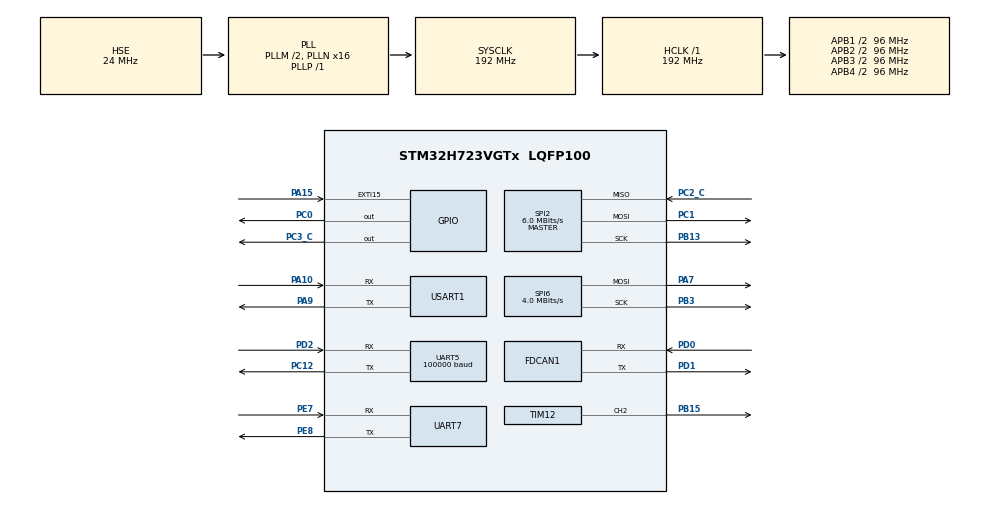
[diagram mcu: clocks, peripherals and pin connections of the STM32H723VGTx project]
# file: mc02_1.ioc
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CORTEX_M7.default_mode_Activation=1
Dma.Request0=USART1_TX
Dma.Request1=USART1_RX
Dma.Request2=UART7_RX
Dma.Request3=UART7_TX
Dma.Request4=UART5_RX
Dma.Request5=UART5_TX
Dma.UART5_RX.4.Direction=DMA_PERIPH_TO_MEMORY
Dma.UART5_RX.4.EventEnable=DISABLE
Dma.UART5_RX.4.FIFOMode=DMA_FIFOMODE_DISABLE
Dma.UART5_RX.4.Instance=DMA1_Stream4
Dma.UART5_RX.4.MemDataAlignment=DMA_MDATAALIGN_BYTE
Dma.UART5_RX.4.MemInc=DMA_MINC_ENABLE
Dma.UART5_RX.4.Mode=DMA_NORMAL
Dma.UART5_RX.4.PeriphDataAlignment=DMA_PDATAALIGN_BYTE
Dma.UART5_RX.4.PeriphInc=DMA_PINC_DISABLE
Dma.UART5_RX.4.Polarity=HAL_DMAMUX_REQ_GEN_RISING
Dma.UART5_RX.4.Priority=DMA_PRIORITY_LOW
Dma.UART5_RX.4.RequestNumber=1
Dma.UART5_RX.4.SignalID=NONE
Dma.UART5_RX.4.SyncEnable=DISABLE
Dma.UART5_RX.4.SyncPolarity=HAL_DMAMUX_SYNC_NO_EVENT
Dma.UART5_RX.4.SyncRequestNumber=1
Dma.UART5_RX.4.SyncSignalID=NONE
Dma.UART5_TX.5.Direction=DMA_MEMORY_TO_PERIPH
Dma.UART5_TX.5.EventEnable=DISABLE
Dma.UART5_TX.5.FIFOMode=DMA_FIFOMODE_DISABLE
Dma.UART5_TX.5.Instance=DMA1_Stream5
Dma.UART5_TX.5.MemDataAlignment=DMA_MDATAALIGN_BYTE
Dma.UART5_TX.5.MemInc=DMA_MINC_ENABLE
Dma.UART5_TX.5.Mode=DMA_NORMAL
Dma.UART5_TX.5.PeriphDataAlignment=DMA_PDATAALIGN_BYTE
Dma.UART5_TX.5.PeriphInc=DMA_PINC_DISABLE
Dma.UART5_TX.5.Polarity=HAL_DMAMUX_REQ_GEN_RISING
Dma.UART5_TX.5.Priority=DMA_PRIORITY_LOW
Dma.UART5_TX.5.RequestNumber=1
Dma.UART5_TX.5.SignalID=NONE
Dma.UART5_TX.5.SyncEnable=DISABLE
Dma.UART5_TX.5.SyncPolarity=HAL_DMAMUX_SYNC_NO_EVENT
Dma.UART5_TX.5.SyncRequestNumber=1
Dma.UART5_TX.5.SyncSignalID=NONE
Dma.UART7_RX.2.Direction=DMA_PERIPH_TO_MEMORY
Dma.UART7_RX.2.EventEnable=DISABLE
Dma.UART7_RX.2.FIFOMode=DMA_FIFOMODE_DISABLE
Dma.UART7_RX.2.Instance=DMA1_Stream2
Dma.UART7_RX.2.MemDataAlignment=DMA_MDATAALIGN_BYTE
Dma.UART7_RX.2.MemInc=DMA_MINC_ENABLE
Dma.UART7_RX.2.Mode=DMA_CIRCULAR
Dma.UART7_RX.2.PeriphDataAlignment=DMA_PDATAALIGN_BYTE
Dma.UART7_RX.2.PeriphInc=DMA_PINC_DISABLE
Dma.UART7_RX.2.Polarity=HAL_DMAMUX_REQ_GEN_RISING
Dma.UART7_RX.2.Priority=DMA_PRIORITY_LOW
Dma.UART7_RX.2.RequestNumber=1
Dma.UART7_RX.2.SignalID=NONE
Dma.UART7_RX.2.SyncEnable=DISABLE
Dma.UART7_RX.2.SyncPolarity=HAL_DMAMUX_SYNC_NO_EVENT
Dma.UART7_RX.2.SyncRequestNumber=1
Dma.UART7_RX.2.SyncSignalID=NONE
Dma.UART7_TX.3.Direction=DMA_MEMORY_TO_PERIPH
Dma.UART7_TX.3.EventEnable=DISABLE
Dma.UART7_TX.3.FIFOMode=DMA_FIFOMODE_DISABLE
Dma.UART7_TX.3.Instance=DMA1_Stream3
Dma.UART7_TX.3.MemDataAlignment=DMA_MDATAALIGN_BYTE
Dma.UART7_TX.3.MemInc=DMA_MINC_ENABLE
Dma.UART7_TX.3.Mode=DMA_NORMAL
Dma.UART7_TX.3.PeriphDataAlignment=DMA_PDATAALIGN_BYTE
Dma.UART7_TX.3.PeriphInc=DMA_PINC_DISABLE
Dma.UART7_TX.3.Polarity=HAL_DMAMUX_REQ_GEN_RISING
Dma.UART7_TX.3.Priority=DMA_PRIORITY_LOW
Dma.UART7_TX.3.RequestNumber=1
Dma.UART7_TX.3.SignalID=NONE
Dma.UART7_TX.3.SyncEnable=DISABLE
Dma.UART7_TX.3.SyncPolarity=HAL_DMAMUX_SYNC_NO_EVENT
Dma.UART7_TX.3.SyncRequestNumber=1
Dma.UART7_TX.3.SyncSignalID=NONE
Dma.USART1_RX.1.Direction=DMA_PERIPH_TO_MEMORY
Dma.USART1_RX.1.EventEnable=DISABLE
Dma.USART1_RX.1.FIFOMode=DMA_FIFOMODE_DISABLE
Dma.USART1_RX.1.Instance=DMA1_Stream1
Dma.USART1_RX.1.MemDataAlignment=DMA_MDATAALIGN_BYTE
Dma.USART1_RX.1.MemInc=DMA_MINC_ENABLE
Dma.USART1_RX.1.Mode=DMA_NORMAL
Dma.USART1_RX.1.PeriphDataAlignment=DMA_PDATAALIGN_BYTE
Dma.USART1_RX.1.PeriphInc=DMA_PINC_DISABLE
Dma.USART1_RX.1.Polarity=HAL_DMAMUX_REQ_GEN_RISING
Dma.USART1_RX.1.Priority=DMA_PRIORITY_LOW
Dma.USART1_RX.1.RequestNumber=1
Dma.USART1_RX.1.SignalID=NONE
Dma.USART1_RX.1.SyncEnable=DISABLE
Dma.USART1_RX.1.SyncPolarity=HAL_DMAMUX_SYNC_NO_EVENT
Dma.USART1_RX.1.SyncRequestNumber=1
Dma.USART1_RX.1.SyncSignalID=NONE
Dma.USART1_TX.0.Direction=DMA_MEMORY_TO_PERIPH
Dma.USART1_TX.0.EventEnable=DISABLE
Dma.USART1_TX.0.FIFOMode=DMA_FIFOMODE_DISABLE
Dma.USART1_TX.0.Instance=DMA1_Stream0
Dma.USART1_TX.0.MemDataAlignment=DMA_MDATAALIGN_BYTE
Dma.USART1_TX.0.MemInc=DMA_MINC_ENABLE
Dma.USART1_TX.0.Mode=DMA_NORMAL
Dma.USART1_TX.0.PeriphDataAlignment=DMA_PDATAALIGN_BYTE
Dma.USART1_TX.0.PeriphInc=DMA_PINC_DISABLE
Dma.USART1_TX.0.Polarity=HAL_DMAMUX_REQ_GEN_RISING
Dma.USART1_TX.0.Priority=DMA_PRIORITY_LOW
Dma.USART1_TX.0.RequestNumber=1
Dma.USART1_TX.0.SignalID=NONE
Dma.USART1_TX.0.SyncEnable=DISABLE
Dma.USART1_TX.0.SyncPolarity=HAL_DMAMUX_SYNC_NO_EVENT
Dma.USART1_TX.0.SyncRequestNumber=1
Dma.USART1_TX.0.SyncSignalID=NONE
FDCAN1.CalculateBaudRateNominal=1000000
FDCAN1.CalculateTimeBitNominal=1000
FDCAN1.CalculateTimeQuantumNominal=62.5
FDCAN1.DataTimeSeg1=13
FDCAN1.DataTimeSeg2=2
FDCAN1.ExtFiltersNbr=8
FDCAN1.Mode=FDCAN_MODE_NORMAL
FDCAN1.NominalPrescaler=6
FDCAN1.NominalTimeSeg1=13
FDCAN1.NominalTimeSeg2=2
FDCAN1.RxBuffersNbr=8
FDCAN1.RxFifo0ElmtsNbr=8
FDCAN1.RxFifo1ElmtsNbr=8
FDCAN1.StdFiltersNbr=8
FDCAN1.TxBuffersNbr=8
FDCAN1.TxEventsNbr=8
FDCAN1.TxFifoQueueElmtsNbr=8
FREERTOS.Tasks01=defaultTask,24,128,StartDefaultTask,Default,NULL,Dynamic,NULL,NULL;myTask02,8,128,motorTask,Default,NULL,Dynamic,NULL,NULL;myTask03,8,526,UartTask,Default,NULL,Dynamic,NULL,NULL;myTask04,8,512,watchDog,Default,NULL,Dynamic,NULL,NULL;myTask05,8,128,attitideTask,Default,NULL,Dynamic,NULL,NULL
Mcu.Family=STM32H7
Mcu.Name=STM32H723VGTx
Mcu.Package=LQFP100
NVIC.DMA1_Stream0_IRQn=true\:5\:0\:false\:false\:true\:true\:false\:true\:true
NVIC.DMA1_Stream1_IRQn=true\:5\:0\:false\:false\:true\:true\:false\:true\:true
NVIC.DMA1_Stream2_IRQn=true\:5\:0\:false\:false\:true\:true\:false\:true\:true
NVIC.DMA1_Stream3_IRQn=true\:5\:0\:false\:false\:true\:true\:false\:true\:true
NVIC.DMA1_Stream4_IRQn=true\:5\:0\:false\:false\:true\:true\:false\:true\:true
NVIC.DMA1_Stream5_IRQn=true\:5\:0\:false\:false\:true\:true\:false\:true\:true
NVIC.EXTI15_10_IRQn=true\:5\:0\:false\:false\:true\:true\:true\:true\:true
NVIC.FDCAN1_IT0_IRQn=true\:5\:0\:false\:false\:true\:true\:true\:true\:true
NVIC.PriorityGroup=NVIC_PRIORITYGROUP_4
NVIC.TIM4_IRQn=true\:15\:0\:false\:false\:true\:false\:false\:true\:true
NVIC.TimeBase=TIM4_IRQn
NVIC.TimeBaseIP=TIM4
NVIC.UART5_IRQn=true\:5\:0\:false\:false\:true\:true\:true\:true\:true
NVIC.UART7_IRQn=true\:5\:0\:false\:false\:true\:true\:true\:true\:true
NVIC.USART1_IRQn=true\:5\:0\:false\:false\:true\:true\:true\:true\:true
PA10.Mode=Asynchronous
PA10.Signal=USART1_RX
PA13(JTMS/SWDIO).Mode=Serial_Wire
PA13(JTMS/SWDIO).Signal=DEBUG_JTMS-SWDIO
PA14(JTCK/SWCLK).Mode=Serial_Wire
PA14(JTCK/SWCLK).Signal=DEBUG_JTCK-SWCLK
PA15(JTDI).GPIO_ModeDefaultEXTI=GPIO_MODE_IT_FALLING
PA15(JTDI).GPIO_PuPd=GPIO_PULLUP
PA15(JTDI).Signal=GPXTI15
PA7.Mode=TX_Only_Simplex_Unidirect_Master
PA7.Signal=SPI6_MOSI
PA9.Mode=Asynchronous
PA9.Signal=USART1_TX
PB13.Mode=Full_Duplex_Master
PB13.Signal=SPI2_SCK
PB15.Signal=S_TIM12_CH2
PB3(JTDO/TRACESWO).Mode=TX_Only_Simplex_Unidirect_Master
PB3(JTDO/TRACESWO).Signal=SPI6_SCK
PC0.PinState=GPIO_PIN_SET
PC0.Signal=GPIO_Output
PC1.Mode=Full_Duplex_Master
PC1.Signal=SPI2_MOSI
PC12.Mode=Asynchronous
PC12.Signal=UART5_TX
PC2_C.Mode=Full_Duplex_Master
PC2_C.Signal=SPI2_MISO
PC3_C.PinState=GPIO_PIN_SET
PC3_C.Signal=GPIO_Output
PD0.Mode=FDCAN_Activate
PD0.Signal=FDCAN1_RX
PD1.Mode=FDCAN_Activate
PD1.Signal=FDCAN1_TX
PD2.GPIO_PuPd=GPIO_PULLUP
PD2.Mode=Asynchronous
PD2.Signal=UART5_RX
PE7.Mode=Asynchronous
PE7.Signal=UART7_RX
PE8.Mode=Asynchronous
PE8.Signal=UART7_TX
PH0-OSC_IN.Mode=HSE-External-Oscillator
PH0-OSC_IN.Signal=RCC_OSC_IN
PH1-OSC_OUT.Mode=HSE-External-Oscillator
PH1-OSC_OUT.Signal=RCC_OSC_OUT
ProjectManager.HeapSize=0x800
ProjectManager.StackSize=0x1000
ProjectManager.TargetToolchain=CMake
RCC.ADCFreq_Value=48375000
RCC.APB1Freq_Value=96000000
RCC.APB2Freq_Value=96000000
RCC.APB3Freq_Value=96000000
RCC.APB4Freq_Value=96000000
RCC.CortexFreq_Value=192000000
RCC.D1PPRE=RCC_APB3_DIV2
RCC.D2PPRE1=RCC_APB1_DIV2
RCC.D2PPRE2=RCC_APB2_DIV2
RCC.D3PPRE=RCC_APB4_DIV2
RCC.DIVM1=2
RCC.DIVN1=16
RCC.DIVP1=1
RCC.HCLKFreq_Value=192000000
RCC.HSE_VALUE=24000000
RCC.PLL2FRACN=0
RCC.PLL3FRACN=0
RCC.PLLFRACN=0
RCC.PLLSourceVirtual=RCC_PLLSOURCE_HSE
RCC.SPI6CLockSelection=RCC_SPI6CLKSOURCE_HSI
RCC.SYSCLKFreq_VALUE=192000000
RCC.SYSCLKSource=RCC_SYSCLKSOURCE_PLLCLK
RCC.USBFreq_Value=96000000
SH.S_TIM12_CH2.0=TIM12_CH2,PWM Generation2 CH2
SPI2.BaudRatePrescaler=SPI_BAUDRATEPRESCALER_16
SPI2.CLKPhase=SPI_PHASE_2EDGE
SPI2.CLKPolarity=SPI_POLARITY_HIGH
SPI2.CalculateBaudRate=6.0 MBits/s
SPI2.DataSize=SPI_DATASIZE_8BIT
SPI2.Direction=SPI_DIRECTION_2LINES
SPI2.Mode=SPI_MODE_MASTER
SPI2.VirtualType=VM_MASTER
SPI6.BaudRatePrescaler=SPI_BAUDRATEPRESCALER_16
SPI6.CLKPhase=SPI_PHASE_2EDGE
SPI6.CalculateBaudRate=4.0 MBits/s
SPI6.DataSize=SPI_DATASIZE_8BIT
SPI6.Direction=SPI_DIRECTION_2LINES_TXONLY
SPI6.Mode=SPI_MODE_MASTER
SPI6.VirtualType=VM_MASTER
TIM12.AutoReloadPreload=TIM_AUTORELOAD_PRELOAD_ENABLE
TIM12.Channel-PWM\ Generation2\ CH2=TIM_CHANNEL_2
TIM12.Prescaler=71
UART5.BaudRate=100000
UART5.Parity=PARITY_EVEN
UART5.WordLength=WORDLENGTH_9B
USART1.VirtualMode-Asynchronous=VM_ASYNC
VP_FREERTOS_VS_CMSIS_V2.Mode=CMSIS_V2
VP_MEMORYMAP_VS_MEMORYMAP.Mode=CurAppReg
VP_SYS_VS_tim4.Mode=TIM4
VP_TIM12_VS_ClockSourceINT.Mode=Internal
board=custom

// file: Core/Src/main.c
/* USER CODE BEGIN Header */
/**
  ******************************************************************************
  * @file           : main.c
  * @brief          : Main program body
  ******************************************************************************
  * @attention
  *
  * Copyright (c) 2026 STMicroelectronics.
  * All rights reserved.
  *
  * This software is licensed under terms that can be found in the LICENSE file
  * in the root directory of this software component.
  * If no LICENSE file comes with this software, it is provided AS-IS.
  *
  ******************************************************************************
  */
/* USER CODE END Header */
#include "main.h"
#include "FreeRTOS.h"
#include "cmsis_os2.h"
#include "dma.h"
#include "fdcan.h"
#include "spi.h"
#include "tim.h"
#include "usart.h"
#include "gpio.h"

/* USER CODE BEGIN Includes */
//#include "queue.h"
#include"string.h"
#include"../../User/Inc/bsp_buzzer.h"
#include"../../User/Inc/bsp_ws2812.h"
#include"../../User/Inc/bsp_led.h"
#include"../../User/Inc/bsp_uart.h"
#include"../../User/Inc/bsp_can.h"
#include"../../User/Inc/bsp_imu.h"
#include"../../User/Inc/bsp_contrl.h"

#include"../../User/Inc/bsp_attitude.h"
//#include"FreeRTOSConfig.h"
#include"stdio.h"
/* USER CODE END Includes */

/* USER CODE BEGIN PV */
extern volatile uint8_t press_time = 0;
volatile uint8_t last_press_time = 0;
 volatile uint8_t flag = 0;
//extern osMessageQueueId_t uartQueueHandle;
//char buf[128];
extern char re_buf[128];
/* USER CODE END PV */

void SystemClock_Config(void);
static void MPU_Config(void);
void MX_FREERTOS_Init(void);

int main(void)
{

  /* MPU Configuration--------------------------------------------------------*/
  MPU_Config();

  /* MCU Configuration--------------------------------------------------------*/

  /* Reset of all peripherals, Initializes the Flash interface and the Systick. */
  HAL_Init();

  /* USER CODE BEGIN Init */
  buzzer_init();
  /* USER CODE END Init */

  /* Configure the system clock */
  SystemClock_Config();

  /* Initialize all configured peripherals */
  MX_GPIO_Init();
  MX_DMA_Init();
  MX_SPI6_Init();
  MX_TIM12_Init();
  MX_USART1_UART_Init();
  MX_UART7_Init();
  MX_FDCAN1_Init();
  MX_SPI2_Init();
  MX_UART5_Init();
  /* USER CODE BEGIN 2 */
  buzzer_init();
  bsp_led_init();
   uart_init(&huart7);
   bsp_can_init();
   IMU_Init();
  contrl_init();
  Attitude_Init();
  /* 打印一次芯片 ID，确认 SPI 通路是否正常：正常应为 ACC=0x1E, GYRO=0x0F */
  //uart_start("ACC ID: 0x%02X, GYRO ID: 0x%02X\r\n", IMU_ReadReg(1, 0x00), IMU_ReadReg(0, 0x00));

  /* USER CODE END 2 */

  /* Init scheduler */
  osKernelInitialize();  /* Call init function for freertos objects (in cmsis_os2.c) */
  MX_FREERTOS_Init();

  /* Start scheduler */
  osKernelStart();

  /* We should never get here as control is now taken by the scheduler */

  /* Infinite loop */
  /* USER CODE BEGIN WHILE */

  //用按键模拟工作状态，按一下表示未工作，按两下表示正常，按三下表示遇到突发情况
  static uint8_t last_press = 10;
  uint8_t txcan_buf[8] = {1,2,3,4,5,6,7,8};
  IMU_Data_t imu;
  while (1) {

    /* USER CODE END WHILE */

  }
}

void SystemClock_Config(void)
{
  RCC_OscInitTypeDef RCC_OscInitStruct = {0};
  RCC_ClkInitTypeDef RCC_ClkInitStruct = {0};

  /** Supply configuration update enable
  */
  HAL_PWREx_ConfigSupply(PWR_LDO_SUPPLY);

  /** Configure the main internal regulator output voltage
  */
  __HAL_PWR_VOLTAGESCALING_CONFIG(PWR_REGULATOR_VOLTAGE_SCALE1);

  while(!__HAL_PWR_GET_FLAG(PWR_FLAG_VOSRDY)) {}

  /** Initializes the RCC Oscillators according to the specified parameters
  * in the RCC_OscInitTypeDef structure.
  */
  RCC_OscInitStruct.OscillatorType = RCC_OSCILLATORTYPE_HSI|RCC_OSCILLATORTYPE_HSE;
  RCC_OscInitStruct.HSEState = RCC_HSE_ON;
  RCC_OscInitStruct.HSIState = RCC_HSI_DIV1;
  RCC_OscInitStruct.HSICalibrationValue = 64;
  RCC_OscInitStruct.PLL.PLLState = RCC_PLL_ON;
  RCC_OscInitStruct.PLL.PLLSource = RCC_PLLSOURCE_HSE;
  RCC_OscInitStruct.PLL.PLLM = 2;
  RCC_OscInitStruct.PLL.PLLN = 16;
  RCC_OscInitStruct.PLL.PLLP = 1;
  RCC_OscInitStruct.PLL.PLLQ = 2;
  RCC_OscInitStruct.PLL.PLLR = 2;
  RCC_OscInitStruct.PLL.PLLRGE = RCC_PLL1VCIRANGE_3;
  RCC_OscInitStruct.PLL.PLLVCOSEL = RCC_PLL1VCOWIDE;
  RCC_OscInitStruct.PLL.PLLFRACN = 0;
  if (HAL_RCC_OscConfig(&RCC_OscInitStruct) != HAL_OK)
  {
    Error_Handler();
  }

  /** Initializes the CPU, AHB and APB buses clocks
  */
  RCC_ClkInitStruct.ClockType = RCC_CLOCKTYPE_HCLK|RCC_CLOCKTYPE_SYSCLK
                              |RCC_CLOCKTYPE_PCLK1|RCC_CLOCKTYPE_PCLK2
                              |RCC_CLOCKTYPE_D3PCLK1|RCC_CLOCKTYPE_D1PCLK1;
  RCC_ClkInitStruct.SYSCLKSource = RCC_SYSCLKSOURCE_PLLCLK;
  RCC_ClkInitStruct.SYSCLKDivider = RCC_SYSCLK_DIV1;
  RCC_ClkInitStruct.AHBCLKDivider = RCC_HCLK_DIV1;
  RCC_ClkInitStruct.APB3CLKDivider = RCC_APB3_DIV2;
  RCC_ClkInitStruct.APB1CLKDivider = RCC_APB1_DIV2;
  RCC_ClkInitStruct.APB2CLKDivider = RCC_APB2_DIV2;
  RCC_ClkInitStruct.APB4CLKDivider = RCC_APB4_DIV2;

  if (HAL_RCC_ClockConfig(&RCC_ClkInitStruct, FLASH_LATENCY_2) != HAL_OK)
  {
    Error_Handler();
  }
}

/* USER CODE BEGIN 4 */
  void HAL_GPIO_EXTI_Callback(uint16_t GPIO_Pin) {
    if (GPIO_Pin == GPIO_PIN_15) {
      static uint32_t time = 0;
     // BaseType_t xHigherPriorityTaskWoken = pdFALSE;
      uint32_t current_time = HAL_GetTick();
      if (current_time - time > 50) {
        time = current_time;
        press_time++;
        flag =1;
        if (press_time >3){press_time = 1;}
       // xQueueSendFromISR(uartQueueHandle,&press_time,&xHigherPriorityTaskWoken);
        //portYIELD_FROM_ISR(xHigherPriorityTaskWoken);
      }
    }
  }
/* USER CODE END 4 */

 /* MPU Configuration */

void MPU_Config(void)
{
  MPU_Region_InitTypeDef MPU_InitStruct = {0};

  /* Disables the MPU */
  HAL_MPU_Disable();

  /** Initializes and configures the Region and the memory to be protected
  */
  MPU_InitStruct.Enable = MPU_REGION_ENABLE;
  MPU_InitStruct.Number = MPU_REGION_NUMBER0;
  MPU_InitStruct.BaseAddress = 0x0;
  MPU_InitStruct.Size = MPU_REGION_SIZE_4GB;
  MPU_InitStruct.SubRegionDisable = 0x87;
  MPU_InitStruct.TypeExtField = MPU_TEX_LEVEL0;
  MPU_InitStruct.AccessPermission = MPU_REGION_NO_ACCESS;
  MPU_InitStruct.DisableExec = MPU_INSTRUCTION_ACCESS_DISABLE;
  MPU_InitStruct.IsShareable = MPU_ACCESS_SHAREABLE;
  MPU_InitStruct.IsCacheable = MPU_ACCESS_NOT_CACHEABLE;
  MPU_InitStruct.IsBufferable = MPU_ACCESS_NOT_BUFFERABLE;

  HAL_MPU_ConfigRegion(&MPU_InitStruct);
  /* Enables the MPU */
  HAL_MPU_Enable(MPU_PRIVILEGED_DEFAULT);

}

void HAL_TIM_PeriodElapsedCallback(TIM_HandleTypeDef *htim)
{
  if (htim->Instance == TIM4)
  {
    HAL_IncTick();
  }
}

void Error_Handler(void)
{
    __disable_irq();
    while (1)
    {
    }
}

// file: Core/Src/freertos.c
/* USER CODE BEGIN Header */
/**
  ******************************************************************************
  * File Name          : freertos.c
  * Description        : Code for freertos applications
  ******************************************************************************
  * @attention
  *
  * Copyright (c) 2026 STMicroelectronics.
  * All rights reserved.
  *
  * This software is licensed under terms that can be found in the LICENSE file
  * in the root directory of this software component.
  * If no LICENSE file comes with this software, it is provided AS-IS.
  *
  ******************************************************************************
  */
/* USER CODE END Header */

#include "FreeRTOS.h"
#include "task.h"
#include "main.h"
#include "FreeRTOS.h"
#include "cmsis_os2.h"

/* USER CODE BEGIN Includes */
#include"../../User/Inc/bsp_motor.h"
#include"../../User/Inc/bsp_uart.h"
#include"../../User/Inc/bsp_led.h"
#include"../../User/Inc/bsp_pid.h"
#include"../../User/Inc/bsp_can.h"
#include"../../User/Inc/bsp_contrl.h"
#include"../../User/Inc/bsp_imu.h"
#include"../../User/Inc/bsp_attitude.h"
/* USER CODE END Includes */

/* USER CODE BEGIN Variables */
volatile float target_speed = 0.0f;
volatile uint8_t offline = 0;
/* USER CODE END Variables */
/* Definitions for defaultTask */
osThreadId_t defaultTaskHandle;
const osThreadAttr_t defaultTask_attributes = {
  .name = "defaultTask",
  .stack_size = 128 * 4,
  .priority = (osPriority_t) osPriorityNormal,
};
/* Definitions for myTask02 */
osThreadId_t myTask02Handle;
const osThreadAttr_t myTask02_attributes = {
  .name = "myTask02",
  .stack_size = 128 * 4,
  .priority = (osPriority_t) osPriorityLow,
};
/* Definitions for myTask03 */
osThreadId_t myTask03Handle;
const osThreadAttr_t myTask03_attributes = {
  .name = "myTask03",
  .stack_size = 526 * 4,
  .priority = (osPriority_t) osPriorityLow,
};
/* Definitions for myTask04 */
osThreadId_t myTask04Handle;
const osThreadAttr_t myTask04_attributes = {
  .name = "myTask04",
  .stack_size = 512 * 4,
  .priority = (osPriority_t) osPriorityLow,
};
/* Definitions for myTask05 */
osThreadId_t myTask05Handle;
const osThreadAttr_t myTask05_attributes = {
  .name = "myTask05",
  .stack_size = 128 * 4,
  .priority = (osPriority_t) osPriorityLow,
};

void StartDefaultTask(void *argument);
void motorTask(void *argument);
void UartTask(void *argument);
void watchDog(void *argument);
void attitideTask(void *argument);

void MX_FREERTOS_Init(void); /* (MISRA C 2004 rule 8.1) */

void MX_FREERTOS_Init(void) {

  /* Create the thread(s) */
  /* creation of defaultTask */
  defaultTaskHandle = osThreadNew(StartDefaultTask, NULL, &defaultTask_attributes);

  /* creation of myTask02 */
  myTask02Handle = osThreadNew(motorTask, NULL, &myTask02_attributes);

  /* creation of myTask03 */
  myTask03Handle = osThreadNew(UartTask, NULL, &myTask03_attributes);

  /* creation of myTask04 */
  myTask04Handle = osThreadNew(watchDog, NULL, &myTask04_attributes);

  /* creation of myTask05 */
  myTask05Handle = osThreadNew(attitideTask, NULL, &myTask05_attributes);

}

void StartDefaultTask(void *argument)
{
  for(;;)
  {
    osDelay(1);
  }
}

void motorTask(void *argument)
{
  /* USER CODE BEGIN motorTask */
  /* Infinite loop */
  TickType_t xLastWakeTime = xTaskGetTickCount();
  pid_set_angle(1.1f,0.00f,0.0f);
  pid_set_speed(3.0f,0.6f,0.0f);
  for(;;)
  { contrl_check();
    contrl_update();
    switch (contrl_state)
    {
    case Offline:
      bsp_led_task(2000);
      bsp_led_set(error,250,0,0);
      break;
    case Error:
      motor_set_current(M3508,2,0);
      break;
    case Normal:
      int16_t ch = contrl_getch(0);
      target_speed =  ch * 1.5f;
      float n_speed = rx_data.speed ;
      float output = pid_math_speed(target_speed,n_speed ,0.001f,0.9f);
      motor_set_current(M3508,2,output);
      break;
    }
    motor_send_current();
  }
  xTaskDelayUntil(&xLastWakeTime,pdMS_TO_TICKS(1));
    /* USER CODE END motorTask */

}

  void UartTask(void *argument)
  {
    /* USER CODE BEGIN UartTask */
    /* Infinite loop */
    for(;;)
    {
      uint16_t current_me_angle = rx_data.me_angle;
      int16_t current_speed = rx_data.speed;
      int16_t current_temperature = rx_data.temperature;
      int16_t current_I = rx_data.current;
      int16_t target = pid_angle.target;
      int16_t error =pid_angle.error;
      int8_t d = contrl_data.s2;
      int16_t contrl_speed = 1.5f;
      uart_start("%d,%d,%d\r\n",(int16_t)attitude_data.roll,(int16_t)attitude_data.pitch,(int16_t)attitude_data.yaw);
      osDelay(1);
    }
    /* USER CODE END UartTask */
  }

  void watchDog(void *argument)
  {
    /* USER CODE BEGIN watchDog */
    /* Infinite loop */

    for(;;)
    {uint32_t now = xTaskGetTickCount();
      if (now - rx_data.time > pdMS_TO_TICKS(1000)) {
        bsp_led_task(2000);
        bsp_led_set(normal,0,250,0);
      }
      else {
        bsp_led_task(2000);
        bsp_led_set(normal,0,250,0);
      }

      // if (now - contrl_data.time > pdMS_TO_TICKS(1000)) {
      //   bsp_led_task(2000);
      //   bsp_led_set(error,250,0,0);
      //   offline = 1;
      //
      // }
      // else {
      //   bsp_led_task(2000);
      //   bsp_led_set(normal,0,250,0);
      //   offline = 0;
      // }

      osDelay(10);
    }
    /* USER CODE END watchDog */
  }

  void attitideTask(void *argument)
  {
    /* USER CODE BEGIN attitideTask */
    /* Infinite loop */
    IMU_Data_t imu;
    TickType_t xLastWakeTime = xTaskGetTickCount();
    for(;;)
    { IMU_GetData(&imu);
      Attitude_Update(&imu);
      xTaskDelayUntil(&xLastWakeTime, pdMS_TO_TICKS(1));

    }
    /* USER CODE END attitideTask */
  }

  /* Private application code --------------------------------------------------*/
